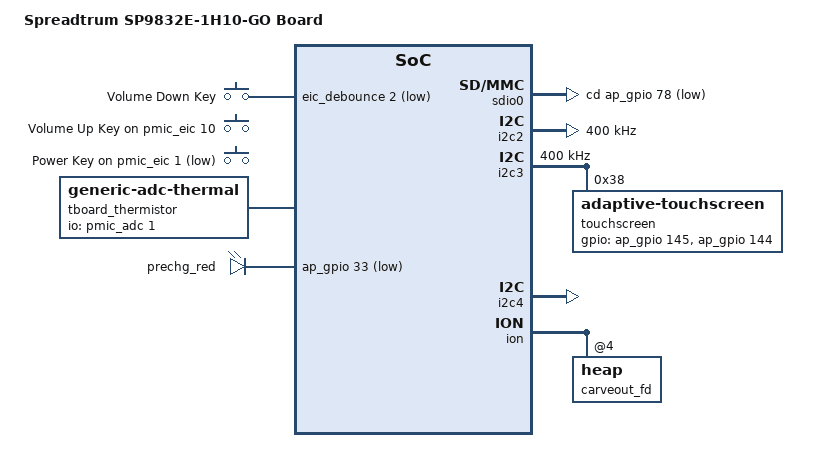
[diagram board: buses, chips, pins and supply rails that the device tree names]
/*
 * Spreadtrum sharkle sp9832e board DTS file
 *
 * Copyright (C) 2019, Spreadtrum Communications Inc.
 *
 * This file is licensed under a dual GPLv2 or X11 license.
 */
/dts-v1/;
/plugin/;
#include <dt-bindings/input/input.h>
#include <dt-bindings/gpio/gpio.h>

#include <dt-bindings/input/input.h>
#include <dt-bindings/gpio/gpio.h>
#include <dt-bindings/clock/sprd,sc9832e-clk.h>

/ {
	model = "Spreadtrum SP9832E-1H10-GO Board";

	compatible = "sprd,sp9832e-1h10", "sprd,sc9832e";

	sprd,sc-id = "sp9832e 1h10 1000";

	/*
	* When create a new node, we should use the key word __overlay__,
	* otherwise u-boot can not analyze it.
	*/
	fragment {
		target-path = "/";
		__overlay__ {
			gpio-keys {
				compatible = "gpio-keys";

				key-volumedown {
					label = "Volume Down Key";
					linux,code = <KEY_VOLUMEDOWN>;
					gpios = <&eic_debounce 2 GPIO_ACTIVE_LOW>;
					debounce-interval = <2>;
					wakeup-source;
				};

				key-volumeup {
					label = "Volume Up Key";
					linux,code = <KEY_VOLUMEUP>;
					gpios = <&pmic_eic 10 GPIO_ACTIVE_HIGH>;
					debounce-interval = <2>;
					wakeup-source;
				};

				key-power {
					label = "Power Key";
					linux,code = <KEY_POWER>;
					gpios = <&pmic_eic 1 GPIO_ACTIVE_LOW>;
					debounce-interval = <2>;
					wakeup-source;
				};
			};

			tboard_thermistor:thermal-sensor {
				compatible = "generic-adc-thermal";
				#thermal-sensor-cells = <0>;
				io-channels = <&pmic_adc 1>;
				io-channel-names = "sensor-channel";
				temperature-lookup-table = < (-39742) 1131
								(-29777) 1110
								(-19480) 1074
								(-4679) 983
								10110 838
								24805 654
								44922 413
								54903 316
								64895 238
								74884 178
								84883 133
								94883 100
								104880 75
								114889 57
								124872 43 >;
			};
		};
	};
};

&chosen {
	bootargs_ext = "androidboot.hardware=sp9832e_1h10_go androidboot.dtbo_idx=0";
};

&reserved_memory {
	tos_reserved: tos-mem@94020000 {
		reg = <0x94040000 0x01fc0000>;
	};

	fd_reserved: fd-mem@bfa80000 {
		reg = <0xbfa80000 0x00500000>;
	};
};

&thm_zone {
	bd_thmzone: board-thmzone {
	polling-delay-passive = <0>;
	polling-delay = <0>;
	thermal-sensors = <&tboard_thermistor>;
	};
};

&sdio0 {
	cd-gpios= <&ap_gpio 78 1>;
};



&i2c2 {
	status = "okay";
	clock-frequency = <400000>;
};

&i2c3 {
	status = "okay";
	clock-frequency = <400000>;

	touchscreen@38 {
		compatible = "adaptive-touchscreen";
		reg = <0x38>;
		gpios = <&ap_gpio 145 GPIO_ACTIVE_HIGH
			&ap_gpio 144 GPIO_ACTIVE_HIGH>;
		controller = "focaltech,ft5436";
		virtualkeys = <580 60 1320 60 45
				172 360 1320 60 45
				158 600 1320 60 45>;
		surface-width = <720>;
		surface-height = <1280>;
		private-data {
			a8 = /bits/ 8 <0x5A>;
		};
	};
};

&i2c4 {
	status = "okay";
};

&usb {
	extcon = <&extcon_gpio>, <&pmic_typec>;
};

&ddr_dfs {
	sprd-scene = "boost", "lcdon", "lcdoff", "camlow", "camhigh";
	sprd-freq = <667 384 256 384 667>;
};

&vddrf18 {
	status = "disabled";
	};

&vddrf125 {
		status = "disabled";
	};

&vddsim2 {
		status = "disabled";
	};

&vddldomem {
		status = "disabled";
	};

&pin_controller {
	pinctrl-names =
	/* keyout0 ~ keyout2 */
	"gpio_121", "gpio_122", "gpio_123",
	/* keyin0 ~ keyin2 */
	"gpio_124", "gpio_125", "gpio_126",
	/* extint0, extint1, scl3, sda3 */
	"gpio_144", "gpio_145", "gpio_146", "gpio_147",
	/* Note:If create a new board,need to add the shutdown node */
	"shutdown";
	pinctrl-0 = <&gpio_121>;
	pinctrl-1 = <&gpio_122>;
	pinctrl-2 = <&gpio_123>;
	pinctrl-3 = <&gpio_124>;
	pinctrl-4 = <&gpio_125>;
	pinctrl-5 = <&gpio_126>;
	pinctrl-6 = <&gpio_144>;
	pinctrl-7 = <&gpio_145>;
	pinctrl-8 = <&gpio_146>;
	pinctrl-9 = <&gpio_147>;
	pinctrl-10 = <&shutdown0
			&shutdown1
			&shutdown2>;

	gpio_121: keyout0 {
		pins = "SHARKLE_KEYOUT0";
		function = "func4";
	};

	gpio_122: keyout1 {
		pins = "SHARKLE_KEYOUT1";
		function = "func4";
	};

	gpio_123: keyout2 {
		pins = "SHARKLE_KEYOUT2";
		function = "func4";
	};

	gpio_124: keyin0 {
		pins = "SHARKLE_KEYIN0";
		function = "func4";
	};

	gpio_125: keyin1 {
		pins = "SHARKLE_KEYIN1";
		function = "func4";
	};

	gpio_126: keyin2 {
		pins = "SHARKLE_KEYIN2";
		function = "func4";
	};

	gpio_144: extint0 {
		pins = "SHARKLE_EXTINT0";
		function = "func4";
	};

	gpio_145: extint1 {
		pins = "SHARKLE_EXTINT1";
		function = "func4";
	};

	gpio_146: scl3 {
		pins = "SHARKLE_SCL3";
		function = "func4";
	};

	gpio_147: sda3 {
		pins = "SHARKLE_SDA3";
		function = "func4";
	};

	shutdown0: rfsen0 {
		pins = "SHARKLE_RFSEN0";
		function = "func4";
	};

	shutdown1: rfsck0 {
		pins = "SHARKLE_RFSCK0";
		function = "func4";
	};

	shutdown2: rfsda0 {
		pins = "SHARKLE_RFSDA0";
		function = "func4";
	};
};

&ion {
	heap@4 {
		reg = <4>;
		label = "carveout_fd";
		type = <2>;
		memory-region = <&fd_reserved>;
	};
};

&soc {
	prechg_leds {
		compatible = "gpio-leds";
		prechg_red {
			label = "prechg_red";
			gpios = <&ap_gpio 33 GPIO_ACTIVE_LOW>;
			default-state = "off";
		};
	};
};
